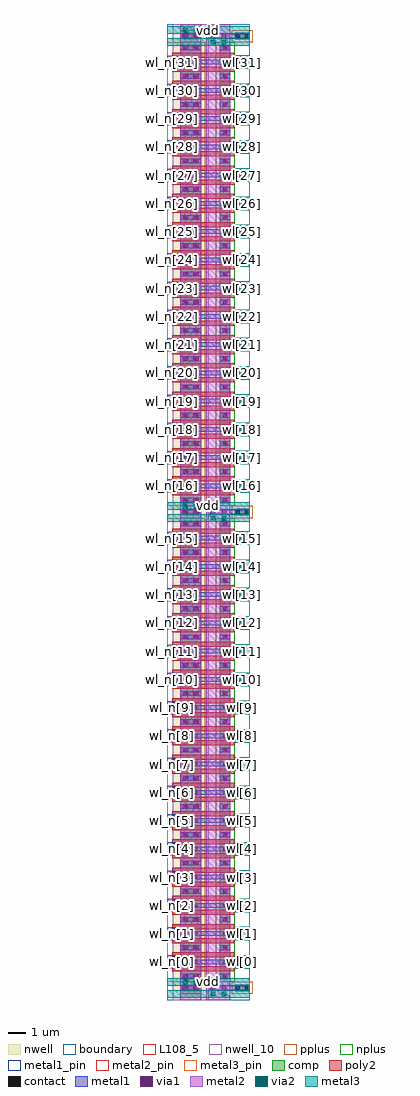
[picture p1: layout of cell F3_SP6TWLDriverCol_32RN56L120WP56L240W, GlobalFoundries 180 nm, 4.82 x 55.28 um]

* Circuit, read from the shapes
.subckt F3_SP6TWLDriverCol_32RN56L120WP56L240W vdd vss wl[0] wl[10] wl[11] wl[12] wl[13] wl[14] wl[15] wl[16] wl[17] wl[18] wl[19] wl[1] wl[20] wl[21] wl[22] wl[23] wl[24] wl[25] wl[26] wl[27] wl[28] wl[29] wl[2] wl[30] wl[31] wl[3] wl[4] wl[5] wl[6] wl[7] wl[8] wl[9] wl_n[0] wl_n[10] wl_n[11] wl_n[12] wl_n[13] wl_n[14] wl_n[15] wl_n[16] wl_n[17] wl_n[18] wl_n[19] wl_n[1] wl_n[20] wl_n[21] wl_n[22] wl_n[23] wl_n[24] wl_n[25] wl_n[26] wl_n[27] wl_n[28] wl_n[29] wl_n[2] wl_n[30] wl_n[31] wl_n[3] wl_n[4] wl_n[5] wl_n[6] wl_n[7] wl_n[8] wl_n[9]
XM1 wl[0] wl_n[0] vss vss nfet_03v3 w=0.6u l=0.28u m=2
XM2 wl[1] wl_n[1] vss vss nfet_03v3 w=0.6u l=0.28u m=2
XM3 wl[2] wl_n[2] vss vss nfet_03v3 w=0.6u l=0.28u m=2
XM4 wl[3] wl_n[3] vss vss nfet_03v3 w=0.6u l=0.28u m=2
XM5 wl[4] wl_n[4] vss vss nfet_03v3 w=0.6u l=0.28u m=2
XM6 wl[5] wl_n[5] vss vss nfet_03v3 w=0.6u l=0.28u m=2
XM7 wl[6] wl_n[6] vss vss nfet_03v3 w=0.6u l=0.28u m=2
XM8 wl[7] wl_n[7] vss vss nfet_03v3 w=0.6u l=0.28u m=2
XM9 wl[8] wl_n[8] vss vss nfet_03v3 w=0.6u l=0.28u m=2
XM10 wl[9] wl_n[9] vss vss nfet_03v3 w=0.6u l=0.28u m=2
XM11 wl[10] wl_n[10] vss vss nfet_03v3 w=0.6u l=0.28u m=2
XM12 wl[11] wl_n[11] vss vss nfet_03v3 w=0.6u l=0.28u m=2
XM13 wl[12] wl_n[12] vss vss nfet_03v3 w=0.6u l=0.28u m=2
XM14 wl[13] wl_n[13] vss vss nfet_03v3 w=0.6u l=0.28u m=2
XM15 wl[14] wl_n[14] vss vss nfet_03v3 w=0.6u l=0.28u m=2
XM16 wl[15] wl_n[15] vss vss nfet_03v3 w=0.6u l=0.28u m=2
XM17 wl[16] wl_n[16] vss vss nfet_03v3 w=0.6u l=0.28u m=2
XM18 wl[17] wl_n[17] vss vss nfet_03v3 w=0.6u l=0.28u m=2
XM19 wl[18] wl_n[18] vss vss nfet_03v3 w=0.6u l=0.28u m=2
XM20 wl[19] wl_n[19] vss vss nfet_03v3 w=0.6u l=0.28u m=2
XM21 wl[20] wl_n[20] vss vss nfet_03v3 w=0.6u l=0.28u m=2
XM22 wl[21] wl_n[21] vss vss nfet_03v3 w=0.6u l=0.28u m=2
XM23 wl[22] wl_n[22] vss vss nfet_03v3 w=0.6u l=0.28u m=2
XM24 wl[23] wl_n[23] vss vss nfet_03v3 w=0.6u l=0.28u m=2
XM25 wl[24] wl_n[24] vss vss nfet_03v3 w=0.6u l=0.28u m=2
XM26 wl[25] wl_n[25] vss vss nfet_03v3 w=0.6u l=0.28u m=2
XM27 wl[26] wl_n[26] vss vss nfet_03v3 w=0.6u l=0.28u m=2
XM28 wl[27] wl_n[27] vss vss nfet_03v3 w=0.6u l=0.28u m=2
XM29 wl[28] wl_n[28] vss vss nfet_03v3 w=0.6u l=0.28u m=2
XM30 wl[29] wl_n[29] vss vss nfet_03v3 w=0.6u l=0.28u m=2
XM31 wl[30] wl_n[30] vss vss nfet_03v3 w=0.6u l=0.28u m=2
XM32 wl[31] wl_n[31] vss vss nfet_03v3 w=0.6u l=0.28u m=2
XM33 wl[0] wl_n[0] vdd vdd pfet_03v3 w=1.2u l=0.28u m=2
XM34 wl[1] wl_n[1] vdd vdd pfet_03v3 w=1.2u l=0.28u m=2
XM35 wl[2] wl_n[2] vdd vdd pfet_03v3 w=1.2u l=0.28u m=2
XM36 wl[3] wl_n[3] vdd vdd pfet_03v3 w=1.2u l=0.28u m=2
XM37 wl[4] wl_n[4] vdd vdd pfet_03v3 w=1.2u l=0.28u m=2
XM38 wl[5] wl_n[5] vdd vdd pfet_03v3 w=1.2u l=0.28u m=2
XM39 wl[6] wl_n[6] vdd vdd pfet_03v3 w=1.2u l=0.28u m=2
XM40 wl[7] wl_n[7] vdd vdd pfet_03v3 w=1.2u l=0.28u m=2
XM41 wl[8] wl_n[8] vdd vdd pfet_03v3 w=1.2u l=0.28u m=2
XM42 wl[9] wl_n[9] vdd vdd pfet_03v3 w=1.2u l=0.28u m=2
XM43 wl[10] wl_n[10] vdd vdd pfet_03v3 w=1.2u l=0.28u m=2
XM44 wl[11] wl_n[11] vdd vdd pfet_03v3 w=1.2u l=0.28u m=2
XM45 wl[12] wl_n[12] vdd vdd pfet_03v3 w=1.2u l=0.28u m=2
XM46 wl[13] wl_n[13] vdd vdd pfet_03v3 w=1.2u l=0.28u m=2
XM47 wl[14] wl_n[14] vdd vdd pfet_03v3 w=1.2u l=0.28u m=2
XM48 wl[15] wl_n[15] vdd vdd pfet_03v3 w=1.2u l=0.28u m=2
XM49 wl[16] wl_n[16] vdd vdd pfet_03v3 w=1.2u l=0.28u m=2
XM50 wl[17] wl_n[17] vdd vdd pfet_03v3 w=1.2u l=0.28u m=2
XM51 wl[18] wl_n[18] vdd vdd pfet_03v3 w=1.2u l=0.28u m=2
XM52 wl[19] wl_n[19] vdd vdd pfet_03v3 w=1.2u l=0.28u m=2
XM53 wl[20] wl_n[20] vdd vdd pfet_03v3 w=1.2u l=0.28u m=2
XM54 wl[21] wl_n[21] vdd vdd pfet_03v3 w=1.2u l=0.28u m=2
XM55 wl[22] wl_n[22] vdd vdd pfet_03v3 w=1.2u l=0.28u m=2
XM56 wl[23] wl_n[23] vdd vdd pfet_03v3 w=1.2u l=0.28u m=2
XM57 wl[24] wl_n[24] vdd vdd pfet_03v3 w=1.2u l=0.28u m=2
XM58 wl[25] wl_n[25] vdd vdd pfet_03v3 w=1.2u l=0.28u m=2
XM59 wl[26] wl_n[26] vdd vdd pfet_03v3 w=1.2u l=0.28u m=2
XM60 wl[27] wl_n[27] vdd vdd pfet_03v3 w=1.2u l=0.28u m=2
XM61 wl[28] wl_n[28] vdd vdd pfet_03v3 w=1.2u l=0.28u m=2
XM62 wl[29] wl_n[29] vdd vdd pfet_03v3 w=1.2u l=0.28u m=2
XM63 wl[30] wl_n[30] vdd vdd pfet_03v3 w=1.2u l=0.28u m=2
XM64 wl[31] wl_n[31] vdd vdd pfet_03v3 w=1.2u l=0.28u m=2
.ends

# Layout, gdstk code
import gdstk
lib = gdstk.Library(unit=1e-6, precision=1e-09)
def R(c, l, rs):  # rectangles x0, y0, x1, y1
    for r in rs: c.add(gdstk.rectangle(r[:2], r[2:], *l))
def A(c, l, x, y, w, h, nx, ny, dx, dy):  # array of equal rectangles
    R(c, l, [(x+i*dx, y+j*dy, x+i*dx+w, y+j*dy+h) for i in range(nx) for j in range(ny)])
def P(c, l, *ps):  # polygons
    for p in ps: c.add(gdstk.Polygon(p, *l))
boundary = (0, 0)
nwell = (21, 0)
nwell_10 = (21, 10)
comp = (22, 0)
poly2 = (30, 0)
pplus = (31, 0)
nplus = (32, 0)
contact = (33, 0)
metal1 = (34, 0)
metal1_pin = (34, 10)
via1 = (35, 0)
metal2 = (36, 0)
metal2_pin = (36, 10)
via2 = (38, 0)
metal3 = (42, 0)
metal3_pin = (42, 10)
L108_5 = (108, 5)

f3_sp6twldriver_n56l120w = lib.new_cell('F3_SP6TWLDriver_N56L120WP56L240W')
R(f3_sp6twldriver_n56l120w, boundary, [(-4.66,0,0,1.6)])
R(f3_sp6twldriver_n56l120w, nwell, [(-4.37,-0.61,-2.31,2.21)])
R(f3_sp6twldriver_n56l120w, nwell_10, [(-4.37,-0.61,-2.31,2.21)])
R(f3_sp6twldriver_n56l120w, comp, [(-3.94,-0.18,-2.74,1.78), (-3.94,-0.18,-2.74,1.78), (-1.69,-0.18,-1.09,1.78), (-1.69,-0.18,-1.09,1.78)])
P(f3_sp6twldriver_n56l120w, poly2, [(-4.4,0.26),(-4.4,1.34),(-0.87,1.34),(-0.87,1.06),(-4.04,1.06),(-4.04,0.54),(-0.87,0.54),(-0.87,0.26)])
R(f3_sp6twldriver_n56l120w, pplus, [(-4.66,-0.34,-2.51,1.94)])
R(f3_sp6twldriver_n56l120w, nplus, [(-1.92,-0.34,-0.86,1.94)])
A(f3_sp6twldriver_n56l120w, contact, -3.7, -0.11, 0.22, 0.22, 1, 3, 0, 0.8)
A(f3_sp6twldriver_n56l120w, contact, -3.2, -0.11, 0.22, 0.22, 1, 3, 0, 0.8)
A(f3_sp6twldriver_n56l120w, contact, -1.5, -0.11, 0.22, 0.22, 1, 3, 0, 0.8)
R(f3_sp6twldriver_n56l120w, contact, [(-4.33,0.44,-4.11,0.66), (-4.33,0.94,-4.11,1.16)])
R(f3_sp6twldriver_n56l120w, metal1, [(-3.94,-0.13,-2.74,0.13), (-1.69,-0.13,-1.09,0.13), (-4.66,0.435,-4.05,1.165), (-3.76,0.67,-0.43,0.93), (-3.94,1.47,-2.74,1.73), (-1.69,1.47,-1.09,1.73)])
R(f3_sp6twldriver_n56l120w, metal1_pin, [(-4.66,0.435,-4.05,1.165)])
R(f3_sp6twldriver_n56l120w, via1, [(-3.78,-0.13,-3.52,0.13), (-3.16,-0.13,-2.9,0.13), (-1.52,-0.13,-1.26,0.13), (-0.75,0.67,-0.49,0.93), (-3.78,1.47,-3.52,1.73), (-3.16,1.47,-2.9,1.73), (-1.52,1.47,-1.26,1.73)])
R(f3_sp6twldriver_n56l120w, metal2, [(-3.94,-0.14,-2.74,1.74), (-2.46,-0.14,-1.09,1.74), (-0.76,0.61,-0.48,1.13)])
R(f3_sp6twldriver_n56l120w, metal2_pin, [(-3.94,-0.14,-2.74,1.74), (-2.46,-0.14,-1.09,1.74)])
R(f3_sp6twldriver_n56l120w, via2, [(-0.75,0.67,-0.49,0.93)])
R(f3_sp6twldriver_n56l120w, metal3, [(-0.81,0.42,0,1.18)])
R(f3_sp6twldriver_n56l120w, metal3_pin, [(-0.81,0.42,0,1.18)])
f3_sp6twldriver_n56l120w.add(gdstk.Label('wl_n', (-4.355,0.8), layer=34, texttype=10))
f3_sp6twldriver_n56l120w.add(gdstk.Label('nwell', (-3.34,0.8), layer=21, texttype=10))
f3_sp6twldriver_n56l120w.add(gdstk.Label('wl_drive', (-0.405,0.8), layer=42, texttype=10))
f3_sp6twldriver_n56l120w.add(gdstk.Label('vdd', (-3.34,0.8), layer=36, texttype=10))
f3_sp6twldriver_n56l120w.add(gdstk.Label('vss', (-1.775,0.8), layer=36, texttype=10))

f3_sp6twldriverbc_n56l12 = lib.new_cell('F3_SP6TWLDriverBC_N56L120WP56L240W')
R(f3_sp6twldriverbc_n56l12, boundary, [(-4.66,0,0,1.36)])
R(f3_sp6twldriverbc_n56l12, nwell, [(-4.37,0,-2.31,1.36)])
R(f3_sp6twldriverbc_n56l12, nwell_10, [(-4.37,0,-2.31,1.36)])
R(f3_sp6twldriverbc_n56l12, comp, [(-3.77,0.5,-2.91,0.86), (-0.86,0.5,0,0.86)])
R(f3_sp6twldriverbc_n56l12, pplus, [(-1.02,0.34,0.16,1.02)])
R(f3_sp6twldriverbc_n56l12, nplus, [(-3.93,0.34,-2.75,1.02)])
R(f3_sp6twldriverbc_n56l12, contact, [(-3.7,0.57,-3.48,0.79), (-3.2,0.57,-2.98,0.79), (-0.79,0.57,-0.57,0.79), (-0.29,0.57,-0.07,0.79)])
R(f3_sp6twldriverbc_n56l12, metal1, [(-3.84,0.55,-2.84,0.81)])
P(f3_sp6twldriverbc_n56l12, metal1, [(-2.275,0.55),(-2.275,0.81),(-1.275,0.81),(-1.275,0.795),(0,0.795),(0,0.565),(-1.275,0.565),(-1.275,0.55)])
R(f3_sp6twldriverbc_n56l12, via1, [(-3.78,0.55,-3.52,0.81), (-3.16,0.55,-2.9,0.81), (-2.215,0.55,-1.955,0.81), (-1.595,0.55,-1.335,0.81)])
R(f3_sp6twldriverbc_n56l12, metal2, [(-3.94,0,-2.74,1.36), (-2.46,0,-1.09,1.36)])
R(f3_sp6twldriverbc_n56l12, metal2_pin, [(-3.94,0,-2.74,1.36), (-2.46,0,-1.09,1.36)])
R(f3_sp6twldriverbc_n56l12, via2, [(-2.215,0.21,-1.955,0.47), (-1.595,0.21,-1.335,0.47), (-3.78,0.89,-3.52,1.15), (-3.16,0.89,-2.9,1.15)])
R(f3_sp6twldriverbc_n56l12, metal3, [(-4.66,0.14,0,0.54), (-4.66,0.82,0,1.22)])
R(f3_sp6twldriverbc_n56l12, metal3_pin, [(-4.66,0.14,0,0.54), (-4.66,0.82,0,1.22)])
R(f3_sp6twldriverbc_n56l12, L108_5, [(-0.86,0.5,0,0.86)])
f3_sp6twldriverbc_n56l12.add(gdstk.Label('vdd', (-3.34,0.68), layer=21, texttype=10))
f3_sp6twldriverbc_n56l12.add(gdstk.Label('vdd', (-2.33,1.02), layer=42, texttype=10))
f3_sp6twldriverbc_n56l12.add(gdstk.Label('vss', (-2.33,0.34), layer=42, texttype=10))
f3_sp6twldriverbc_n56l12.add(gdstk.Label('vdd', (-3.34,0.68), layer=36, texttype=10))
f3_sp6twldriverbc_n56l12.add(gdstk.Label('vss', (-1.775,0.68), layer=36, texttype=10))

f3_sp6twldrivercol_32rn5 = lib.new_cell('F3_SP6TWLDriverCol_32RN56L120WP56L240W')
R(f3_sp6twldrivercol_32rn5, boundary, [(0,0,4.66,55.28)])
A(f3_sp6twldrivercol_32rn5, metal1, 0, 1.795, 0.61, 0.73, 1, 16, 0, 1.6)
A(f3_sp6twldrivercol_32rn5, metal1, 0, 28.755, 0.61, 0.73, 1, 16, 0, 1.6)
A(f3_sp6twldrivercol_32rn5, metal1_pin, 0, 1.795, 0.61, 0.73, 1, 16, 0, 1.6)
A(f3_sp6twldrivercol_32rn5, metal1_pin, 0, 28.755, 0.61, 0.73, 1, 16, 0, 1.6)
R(f3_sp6twldrivercol_32rn5, metal2, [(0.72,0,1.92,55.28), (2.2,0,3.57,55.28)])
R(f3_sp6twldrivercol_32rn5, metal2_pin, [(0.72,0,1.92,55.28), (2.2,0,3.57,55.28)])
A(f3_sp6twldrivercol_32rn5, metal3, 3.85, 1.78, 0.81, 0.76, 1, 16, 0, 1.6)
A(f3_sp6twldrivercol_32rn5, metal3, 3.85, 28.74, 0.81, 0.76, 1, 16, 0, 1.6)
R(f3_sp6twldrivercol_32rn5, metal3, [(0,0.14,4.66,0.54), (0,0.82,4.66,1.22), (0,27.1,4.66,27.5), (0,27.78,4.66,28.18), (0,54.06,4.66,54.46), (0,54.74,4.66,55.14)])
A(f3_sp6twldrivercol_32rn5, metal3_pin, 3.85, 1.78, 0.81, 0.76, 1, 16, 0, 1.6)
A(f3_sp6twldrivercol_32rn5, metal3_pin, 3.85, 28.74, 0.81, 0.76, 1, 16, 0, 1.6)
R(f3_sp6twldrivercol_32rn5, metal3_pin, [(0,0.14,4.66,0.54), (0,0.82,4.66,1.22), (0,27.1,4.66,27.5), (0,27.78,4.66,28.18), (0,54.06,4.66,54.46), (0,54.74,4.66,55.14)])
f3_sp6twldrivercol_32rn5.add(gdstk.Reference(f3_sp6twldriver_n56l120w, (4.66,2.96)))
f3_sp6twldrivercol_32rn5.add(gdstk.Reference(f3_sp6twldriver_n56l120w, (4.66,6.16)))
f3_sp6twldrivercol_32rn5.add(gdstk.Reference(f3_sp6twldriver_n56l120w, (4.66,9.36)))
f3_sp6twldrivercol_32rn5.add(gdstk.Reference(f3_sp6twldriver_n56l120w, (4.66,12.56)))
f3_sp6twldrivercol_32rn5.add(gdstk.Reference(f3_sp6twldriver_n56l120w, (4.66,15.76)))
f3_sp6twldrivercol_32rn5.add(gdstk.Reference(f3_sp6twldriver_n56l120w, (4.66,18.96)))
f3_sp6twldrivercol_32rn5.add(gdstk.Reference(f3_sp6twldriver_n56l120w, (4.66,22.16)))
f3_sp6twldrivercol_32rn5.add(gdstk.Reference(f3_sp6twldriver_n56l120w, (4.66,25.36)))
f3_sp6twldrivercol_32rn5.add(gdstk.Reference(f3_sp6twldriver_n56l120w, (4.66,29.92)))
f3_sp6twldrivercol_32rn5.add(gdstk.Reference(f3_sp6twldriver_n56l120w, (4.66,33.12)))
f3_sp6twldrivercol_32rn5.add(gdstk.Reference(f3_sp6twldriver_n56l120w, (4.66,36.32)))
f3_sp6twldrivercol_32rn5.add(gdstk.Reference(f3_sp6twldriver_n56l120w, (4.66,39.52)))
f3_sp6twldrivercol_32rn5.add(gdstk.Reference(f3_sp6twldriver_n56l120w, (4.66,42.72)))
f3_sp6twldrivercol_32rn5.add(gdstk.Reference(f3_sp6twldriver_n56l120w, (4.66,45.92)))
f3_sp6twldrivercol_32rn5.add(gdstk.Reference(f3_sp6twldriver_n56l120w, (4.66,49.12)))
f3_sp6twldrivercol_32rn5.add(gdstk.Reference(f3_sp6twldriver_n56l120w, (4.66,52.32)))
f3_sp6twldrivercol_32rn5.add(gdstk.Reference(f3_sp6twldriver_n56l120w, (4.66,2.96), x_reflection=True))
f3_sp6twldrivercol_32rn5.add(gdstk.Reference(f3_sp6twldriver_n56l120w, (4.66,6.16), x_reflection=True))
f3_sp6twldrivercol_32rn5.add(gdstk.Reference(f3_sp6twldriver_n56l120w, (4.66,9.36), x_reflection=True))
f3_sp6twldrivercol_32rn5.add(gdstk.Reference(f3_sp6twldriver_n56l120w, (4.66,12.56), x_reflection=True))
f3_sp6twldrivercol_32rn5.add(gdstk.Reference(f3_sp6twldriver_n56l120w, (4.66,15.76), x_reflection=True))
f3_sp6twldrivercol_32rn5.add(gdstk.Reference(f3_sp6twldriver_n56l120w, (4.66,18.96), x_reflection=True))
f3_sp6twldrivercol_32rn5.add(gdstk.Reference(f3_sp6twldriver_n56l120w, (4.66,22.16), x_reflection=True))
f3_sp6twldrivercol_32rn5.add(gdstk.Reference(f3_sp6twldriver_n56l120w, (4.66,25.36), x_reflection=True))
f3_sp6twldrivercol_32rn5.add(gdstk.Reference(f3_sp6twldriver_n56l120w, (4.66,29.92), x_reflection=True))
f3_sp6twldrivercol_32rn5.add(gdstk.Reference(f3_sp6twldriver_n56l120w, (4.66,33.12), x_reflection=True))
f3_sp6twldrivercol_32rn5.add(gdstk.Reference(f3_sp6twldriver_n56l120w, (4.66,36.32), x_reflection=True))
f3_sp6twldrivercol_32rn5.add(gdstk.Reference(f3_sp6twldriver_n56l120w, (4.66,39.52), x_reflection=True))
f3_sp6twldrivercol_32rn5.add(gdstk.Reference(f3_sp6twldriver_n56l120w, (4.66,42.72), x_reflection=True))
f3_sp6twldrivercol_32rn5.add(gdstk.Reference(f3_sp6twldriver_n56l120w, (4.66,45.92), x_reflection=True))
f3_sp6twldrivercol_32rn5.add(gdstk.Reference(f3_sp6twldriver_n56l120w, (4.66,49.12), x_reflection=True))
f3_sp6twldrivercol_32rn5.add(gdstk.Reference(f3_sp6twldriver_n56l120w, (4.66,52.32), x_reflection=True))
f3_sp6twldrivercol_32rn5.add(gdstk.Reference(f3_sp6twldriverbc_n56l12, (4.66,0)))
f3_sp6twldrivercol_32rn5.add(gdstk.Reference(f3_sp6twldriverbc_n56l12, (4.66,26.96)))
f3_sp6twldrivercol_32rn5.add(gdstk.Reference(f3_sp6twldriverbc_n56l12, (4.66,53.92)))
f3_sp6twldrivercol_32rn5.add(gdstk.Label('wl_n[31]', (0.305,53.12), layer=34, texttype=10))
f3_sp6twldrivercol_32rn5.add(gdstk.Label('wl_n[30]', (0.305,51.52), layer=34, texttype=10))
f3_sp6twldrivercol_32rn5.add(gdstk.Label('wl_n[29]', (0.305,49.92), layer=34, texttype=10))
f3_sp6twldrivercol_32rn5.add(gdstk.Label('wl_n[9]', (0.305,16.56), layer=34, texttype=10))
f3_sp6twldrivercol_32rn5.add(gdstk.Label('wl_n[7]', (0.305,13.36), layer=34, texttype=10))
f3_sp6twldrivercol_32rn5.add(gdstk.Label('wl_n[3]', (0.305,6.96), layer=34, texttype=10))
f3_sp6twldrivercol_32rn5.add(gdstk.Label('wl_n[18]', (0.305,32.32), layer=34, texttype=10))
f3_sp6twldrivercol_32rn5.add(gdstk.Label('wl_n[11]', (0.305,19.76), layer=34, texttype=10))
f3_sp6twldrivercol_32rn5.add(gdstk.Label('wl_n[13]', (0.305,22.96), layer=34, texttype=10))
f3_sp6twldrivercol_32rn5.add(gdstk.Label('wl_n[10]', (0.305,18.16), layer=34, texttype=10))
f3_sp6twldrivercol_32rn5.add(gdstk.Label('wl_n[17]', (0.305,30.72), layer=34, texttype=10))
f3_sp6twldrivercol_32rn5.add(gdstk.Label('wl_n[14]', (0.305,24.56), layer=34, texttype=10))
f3_sp6twldrivercol_32rn5.add(gdstk.Label('wl_n[6]', (0.305,11.76), layer=34, texttype=10))
f3_sp6twldrivercol_32rn5.add(gdstk.Label('wl_n[2]', (0.305,5.36), layer=34, texttype=10))
f3_sp6twldrivercol_32rn5.add(gdstk.Label('wl_n[1]', (0.305,3.76), layer=34, texttype=10))
f3_sp6twldrivercol_32rn5.add(gdstk.Label('wl_n[8]', (0.305,14.96), layer=34, texttype=10))
f3_sp6twldrivercol_32rn5.add(gdstk.Label('wl_n[4]', (0.305,8.56), layer=34, texttype=10))
f3_sp6twldrivercol_32rn5.add(gdstk.Label('wl_n[25]', (0.305,43.52), layer=34, texttype=10))
f3_sp6twldrivercol_32rn5.add(gdstk.Label('wl_n[20]', (0.305,35.52), layer=34, texttype=10))
f3_sp6twldrivercol_32rn5.add(gdstk.Label('wl_n[27]', (0.305,46.72), layer=34, texttype=10))
f3_sp6twldrivercol_32rn5.add(gdstk.Label('wl_n[15]', (0.305,26.16), layer=34, texttype=10))
f3_sp6twldrivercol_32rn5.add(gdstk.Label('wl_n[5]', (0.305,10.16), layer=34, texttype=10))
f3_sp6twldrivercol_32rn5.add(gdstk.Label('wl_n[16]', (0.305,29.12), layer=34, texttype=10))
f3_sp6twldrivercol_32rn5.add(gdstk.Label('wl_n[24]', (0.305,41.92), layer=34, texttype=10))
f3_sp6twldrivercol_32rn5.add(gdstk.Label('wl_n[19]', (0.305,33.92), layer=34, texttype=10))
f3_sp6twldrivercol_32rn5.add(gdstk.Label('wl_n[12]', (0.305,21.36), layer=34, texttype=10))
f3_sp6twldrivercol_32rn5.add(gdstk.Label('wl_n[21]', (0.305,37.12), layer=34, texttype=10))
f3_sp6twldrivercol_32rn5.add(gdstk.Label('wl_n[23]', (0.305,40.32), layer=34, texttype=10))
f3_sp6twldrivercol_32rn5.add(gdstk.Label('wl_n[0]', (0.305,2.16), layer=34, texttype=10))
f3_sp6twldrivercol_32rn5.add(gdstk.Label('wl_n[26]', (0.305,45.12), layer=34, texttype=10))
f3_sp6twldrivercol_32rn5.add(gdstk.Label('wl_n[22]', (0.305,38.72), layer=34, texttype=10))
f3_sp6twldrivercol_32rn5.add(gdstk.Label('wl_n[28]', (0.305,48.32), layer=34, texttype=10))
f3_sp6twldrivercol_32rn5.add(gdstk.Label('wl[31]', (4.255,53.12), layer=42, texttype=10))
f3_sp6twldrivercol_32rn5.add(gdstk.Label('wl[29]', (4.255,49.92), layer=42, texttype=10))
f3_sp6twldrivercol_32rn5.add(gdstk.Label('wl[27]', (4.255,46.72), layer=42, texttype=10))
f3_sp6twldrivercol_32rn5.add(gdstk.Label('wl[6]', (4.255,11.76), layer=42, texttype=10))
f3_sp6twldrivercol_32rn5.add(gdstk.Label('wl[9]', (4.255,16.56), layer=42, texttype=10))
f3_sp6twldrivercol_32rn5.add(gdstk.Label('wl[23]', (4.255,40.32), layer=42, texttype=10))
f3_sp6twldrivercol_32rn5.add(gdstk.Label('wl[24]', (4.255,41.92), layer=42, texttype=10))
f3_sp6twldrivercol_32rn5.add(gdstk.Label('wl[3]', (4.255,6.96), layer=42, texttype=10))
f3_sp6twldrivercol_32rn5.add(gdstk.Label('wl[2]', (4.255,5.36), layer=42, texttype=10))
f3_sp6twldrivercol_32rn5.add(gdstk.Label('wl[28]', (4.255,48.32), layer=42, texttype=10))
f3_sp6twldrivercol_32rn5.add(gdstk.Label('wl[25]', (4.255,43.52), layer=42, texttype=10))
f3_sp6twldrivercol_32rn5.add(gdstk.Label('wl[7]', (4.255,13.36), layer=42, texttype=10))
f3_sp6twldrivercol_32rn5.add(gdstk.Label('wl[10]', (4.255,18.16), layer=42, texttype=10))
f3_sp6twldrivercol_32rn5.add(gdstk.Label('wl[0]', (4.255,2.16), layer=42, texttype=10))
f3_sp6twldrivercol_32rn5.add(gdstk.Label('vdd', (2.33,1.02), layer=42, texttype=10))
f3_sp6twldrivercol_32rn5.add(gdstk.Label('vdd', (2.33,27.98), layer=42, texttype=10))
f3_sp6twldrivercol_32rn5.add(gdstk.Label('vdd', (2.33,54.94), layer=42, texttype=10))
f3_sp6twldrivercol_32rn5.add(gdstk.Label('wl[20]', (4.255,35.52), layer=42, texttype=10))
f3_sp6twldrivercol_32rn5.add(gdstk.Label('wl[1]', (4.255,3.76), layer=42, texttype=10))
f3_sp6twldrivercol_32rn5.add(gdstk.Label('wl[8]', (4.255,14.96), layer=42, texttype=10))
f3_sp6twldrivercol_32rn5.add(gdstk.Label('vss', (2.33,0.34), layer=42, texttype=10))
f3_sp6twldrivercol_32rn5.add(gdstk.Label('vss', (2.33,27.3), layer=42, texttype=10))
f3_sp6twldrivercol_32rn5.add(gdstk.Label('vss', (2.33,54.26), layer=42, texttype=10))
f3_sp6twldrivercol_32rn5.add(gdstk.Label('wl[5]', (4.255,10.16), layer=42, texttype=10))
f3_sp6twldrivercol_32rn5.add(gdstk.Label('wl[12]', (4.255,21.36), layer=42, texttype=10))
f3_sp6twldrivercol_32rn5.add(gdstk.Label('wl[30]', (4.255,51.52), layer=42, texttype=10))
f3_sp6twldrivercol_32rn5.add(gdstk.Label('wl[26]', (4.255,45.12), layer=42, texttype=10))
f3_sp6twldrivercol_32rn5.add(gdstk.Label('wl[13]', (4.255,22.96), layer=42, texttype=10))
f3_sp6twldrivercol_32rn5.add(gdstk.Label('wl[15]', (4.255,26.16), layer=42, texttype=10))
f3_sp6twldrivercol_32rn5.add(gdstk.Label('wl[4]', (4.255,8.56), layer=42, texttype=10))
f3_sp6twldrivercol_32rn5.add(gdstk.Label('wl[16]', (4.255,29.12), layer=42, texttype=10))
f3_sp6twldrivercol_32rn5.add(gdstk.Label('wl[11]', (4.255,19.76), layer=42, texttype=10))
f3_sp6twldrivercol_32rn5.add(gdstk.Label('wl[17]', (4.255,30.72), layer=42, texttype=10))
f3_sp6twldrivercol_32rn5.add(gdstk.Label('wl[19]', (4.255,33.92), layer=42, texttype=10))
f3_sp6twldrivercol_32rn5.add(gdstk.Label('wl[14]', (4.255,24.56), layer=42, texttype=10))
f3_sp6twldrivercol_32rn5.add(gdstk.Label('wl[22]', (4.255,38.72), layer=42, texttype=10))
f3_sp6twldrivercol_32rn5.add(gdstk.Label('wl[18]', (4.255,32.32), layer=42, texttype=10))
f3_sp6twldrivercol_32rn5.add(gdstk.Label('wl[21]', (4.255,37.12), layer=42, texttype=10))
f3_sp6twldrivercol_32rn5.add(gdstk.Label('vdd', (1.32,27.64), layer=36, texttype=10))
f3_sp6twldrivercol_32rn5.add(gdstk.Label('vss', (2.885,27.64), layer=36, texttype=10))

lib.write_gds('F3_SP6TWLDriverCol_32RN56L120WP56L240W.gds')
